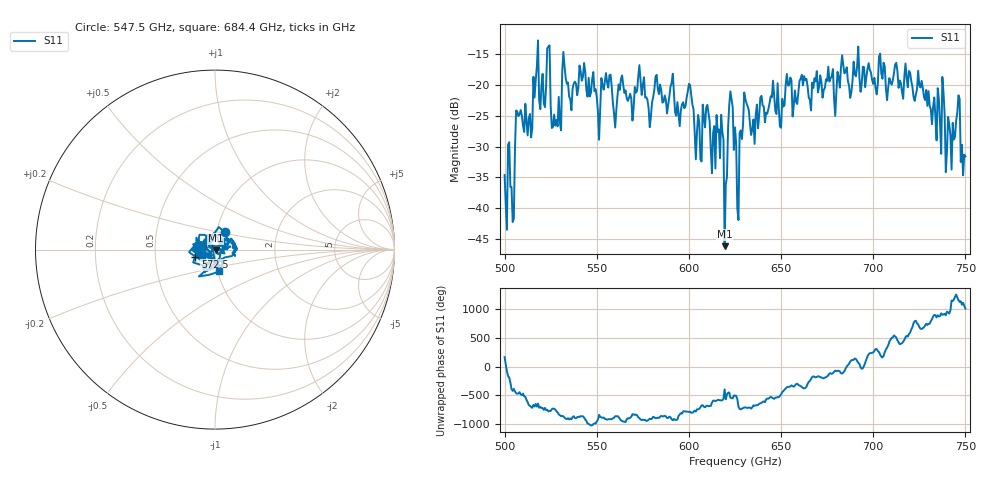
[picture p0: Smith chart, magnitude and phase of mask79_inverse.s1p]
!Created with skrf (http://scikit-rf.org).
# GHz S MA R 50.0
!freq magS11 angS11
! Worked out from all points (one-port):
!   401 points, 500 GHz to 750 GHz, reference 50 ohm
!   lowest |S11| = -46.2 dB at 619.4 GHz (marker M1), VSWR 1.01, Z = 50.4 - j0.287 ohm
!   |S11| at or under -10 dB: start of sweep to end of sweep
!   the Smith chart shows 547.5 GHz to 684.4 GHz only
!   S11 on the Smith chart (normalised r, x): 547.5 GHz: 1.09, +0.21; 572.5 GHz: 0.80, -0.07; 684.4 GHz: 1.02, -0.25
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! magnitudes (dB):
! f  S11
! 500 GHz  -34.6
! 504.4 GHz  -42.3
! 507.5 GHz  -25.1
! 513.8 GHz  -24.7
! 516.9 GHz  -19.2
! 523.8 GHz  -13.8
! 526.9 GHz  -24.8
! 531.2 GHz  -17.8
! 547.5 GHz  -19.1
! 562.5 GHz  -20.8
! 572.5 GHz  -18.7
! 593.8 GHz  -22.8
! 600.6 GHz  -20.0
! 605 GHz  -24.9
! 617.5 GHz  -24.8
! 619.4 GHz  -46.2
! 622.5 GHz  -21.0
! 625 GHz  -26.9
! 627.5 GHz  -27.8
! 631.2 GHz  -23.0
! 634.4 GHz  -27.2
! 656.2 GHz  -25.1
! 684.4 GHz  -18.1
! 687.5 GHz  -22.1
! 718.8 GHz  -20.4
! 740.6 GHz  -25.2
! 745.6 GHz  -24.4
! 750 GHz  -31.6
